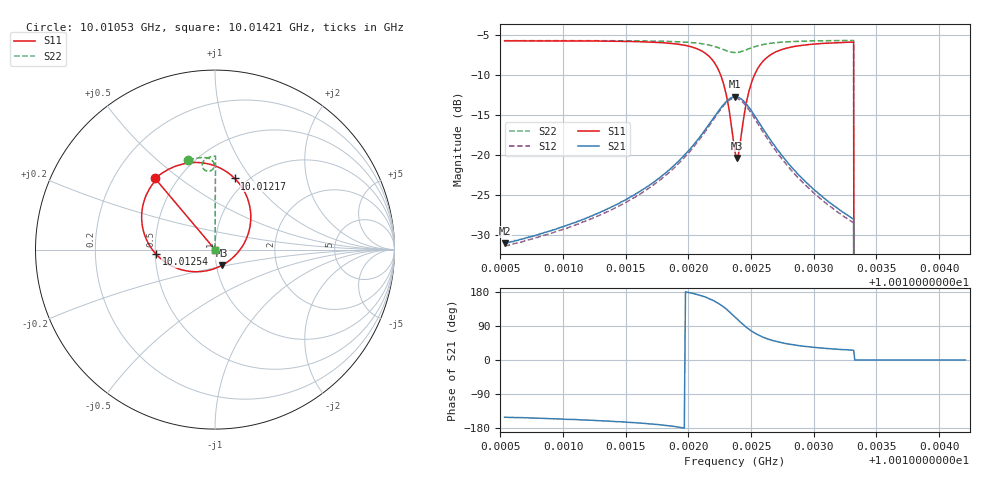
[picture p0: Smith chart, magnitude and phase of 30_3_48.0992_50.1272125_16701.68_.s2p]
#  HZ  S  RI  R  50.00
! Rohde & Schwarz Vector Network Analyzer
! Rohde-Schwarz,ZNB20-2Port,1311601062101988,3.16
! Created: UTC 12/23/2023, 3:37:35 AM
! freq[Hz]  re:S11  im:S11  re:S21  im:S21  re:S12  im:S12  re:S22  im:S22
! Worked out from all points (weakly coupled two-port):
!   401 points, 10.01053 GHz to 10.01421 GHz, reference 50 ohm
!   highest |S21| = -12.70 dB at 10.01237 GHz (marker M1); lowest = -31.0 dB at 10.01053 GHz (marker M2)
!   lowest |S11| = -20.4 dB at 10.01239 GHz (marker M3), VSWR 1.21, Z = 53.3 - j9.39 ohm
!   |S11| at or under -10 dB: 10.01226 GHz to 10.01253 GHz (269.1 kHz wide, 0.00269 % of centre); 10.01332 GHz to end of sweep
!   |S22| runs from - to -5.7 dB; largest |S21 - S12| = 0.01
!   S11 on the Smith chart (normalised r, x): 10.01053 GHz: 0.38, +0.41; 10.01217 GHz: 0.87, +0.84; 10.01254 GHz: 0.50, -0.03; 10.01421 GHz: 1.00, +0.00
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1.0010533e10  -0.3321 0.3976  -0.0246 -0.0136  -0.0229 -0.0144  -0.1478 0.4981
1.0011149e10  -0.2749 0.4383  -0.0366 -0.0147  -0.0344 -0.0161  -0.106 0.5087
1.0011498e10  -0.2229 0.4637  -0.0505 -0.0146  -0.0478 -0.0166  -0.0794 0.5125
1.0011765e10  -0.156 0.4817  -0.0707 -0.0115  -0.0675 -0.0149  -0.0559 0.5128
1.0012022e10  -0.0271 0.4751  -0.1111 0.00616  -0.108 9.7e-05  -0.0273 0.5052
1.0012169e10  0.1096 0.3967  -0.1495 0.0498  -0.1485 0.0408  -0.00875 0.4869
1.0012234e10  0.1744 0.3019  -0.1617 0.0917  -0.1629 0.0821  -0.00439 0.4714
1.001228e10  0.1992 0.197  -0.1595 0.1318  -0.1624 0.1231  -0.0069 0.4569
1.0012316e10  0.1866 0.0926  -0.1433 0.1691  -0.1475 0.1603  -0.0144 0.4461
1.0012372e10  0.0902 -0.0531  -0.092 0.2128  -0.0973 0.2055  -0.0342 0.4365
1.001239e10  0.0397 -0.0873  -0.0703 0.2201  -0.0744 0.2133  -0.0418 0.4367
1.0012408e10  -0.0165 -0.1107  -0.0479 0.2229  -0.0513 0.2163  -0.0492 0.4386
1.0012445e10  -0.1317 -0.1223  -0.00376 0.216  -0.00947 0.2094  -0.0611 0.4465
1.0012473e10  -0.2062 -0.1061  0.0227 0.2026  0.0169 0.1962  -0.067 0.4544
1.0012537e10  -0.3285 -0.0253  0.0597 0.1619  0.053 0.1566  -0.0707 0.4734
1.001262e10  -0.394 0.0874  0.0745 0.1149  0.067 0.1118  -0.065 0.4911
1.001273e10  -0.4084 0.1959  0.071 0.0751  0.0646 0.074  -0.0525 0.5046
1.0012987e10  -0.3745 0.3218  0.0517 0.0348  0.0478 0.0354  -0.0253 0.5168
1.00133e10  -0.3302 0.3867  0.0365 0.0177  0.0338 0.0186  0.00152 0.521
1.0013346e10  0 0  0 0  0 0  0 0
1.0013603e10  0 0  0 0  0 0  0 0
1.001421e10  0 0  0 0  0 0  0 0
